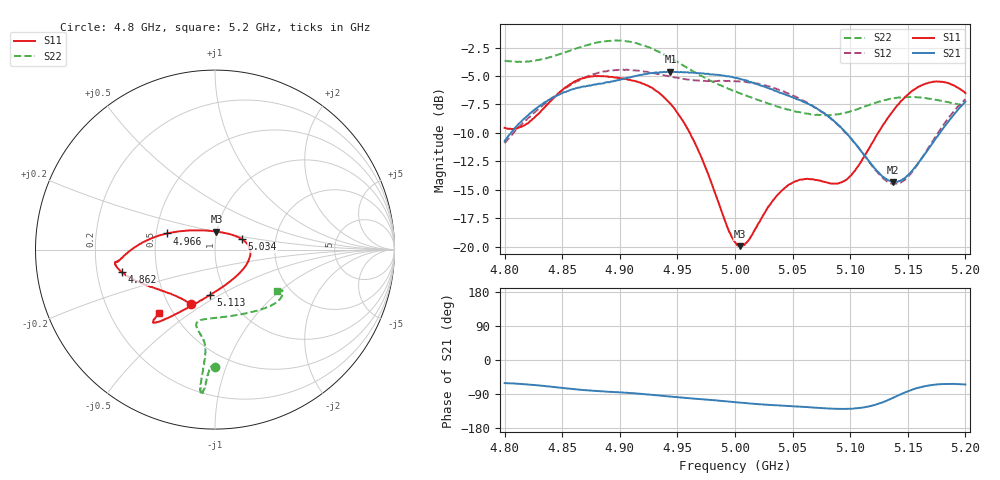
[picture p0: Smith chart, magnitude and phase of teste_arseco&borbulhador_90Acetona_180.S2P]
! Network Analyzer HP8722D
! Hewlett-Packard
! Data name: Linha & Wilkinson
! Saver's name: Rodrigo Anjos
! Comments: Teste da utilização de aquisição
! continua pelo VNA HP8722D
! Time and date: 17/4/2025 12:33
!  Frequency  S11  S21  S12  S22
# HZ  S  MA R 50
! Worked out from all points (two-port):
!   401 points, 4.8 GHz to 5.2 GHz, reference 50 ohm
!   highest |S21| = -4.61 dB at 4.944 GHz (marker M1); lowest = -14.3 dB at 5.137 GHz (marker M2)
!   |S21| within 3 dB of the highest: 4.831 GHz to 5.067 GHz (236.5 MHz wide, 4.78 % of centre); 5.196699 GHz to end of sweep
!   lowest |S11| = -19.9 dB at 5.004 GHz (marker M3), VSWR 1.22, Z = 49.8 + j10.1 ohm
!   |S11| at or under -10 dB: 4.961 GHz to 5.124 GHz (163.4 MHz wide, 3.24 % of centre)
!   |S22| runs from -8.5 to -1.9 dB; largest |S21 - S12| = 0.88
!   S11 on the Smith chart (normalised r, x): 4.8 GHz: 0.64, -0.44; 4.862 GHz: 0.31, -0.11; 4.966 GHz: 0.57, +0.11; 5.034 GHz: 1.35, +0.16; 5.113 GHz: 0.84, -0.45; 5.2 GHz: 0.42, -0.39
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4.8e9  0.3329 -114.0  0.2912 -61.0  0.285 -175.3  0.6566 -90.0
4.819e9  0.3468 -134.0  0.3734 -64.2  0.3606 -173.9  0.6514 -91.5
4.862e9  0.5356 -166.5  0.4978 -77.3  0.53 -177.1  0.7426 -93.9
4.867e9  0.548 -168.4  0.5047 -78.9  0.5453 -178.1  0.757 -94.1
4.899e9  0.5512 -173.0  0.5393 -85.3  0.5986 175.3  0.804 -95.5
4.934e9  0.4748 -179.2  0.5824 -93.6  0.5742 171.7  0.7178 -96.0
4.944e9  0.4246 176.2  0.5883 -96.4  0.5587 171.7  0.6753 -95.6
4.966e9  0.28 161.2  0.58 -102.1  0.5383 173.7  0.5818 -95.4
5e9  0.1048 99.1  0.5521 -111.4  0.5345 176.0  0.4799 -99.5
5.004e9  0.1006 85.3  0.5473 -112.4  0.5323 175.9  0.4727 -100.3
5.012e9  0.107 59.8  0.5302 -114.4  0.528 175.7  0.4565 -102.1
5.034e9  0.1622 20.5  0.4852 -119.5  0.497 174.6  0.4172 -103.9
5.05e9  0.1914 4.3  0.4537 -122.0  0.4621 173.8  0.3951 -99.8
5.067e9  0.1981 -13.8  0.4174 -125.3  0.4172 173.5  0.3813 -91.0
5.093e9  0.1924 -58.2  0.3298 -129.0  0.3281 173.9  0.3851 -70.8
5.113e9  0.2535 -95.9  0.2498 -124.5  0.2494 -180.0  0.4141 -55.1
5.134e9  0.3758 -117.1  0.1952 -104.2  0.1911 -157.1  0.446 -43.1
5.137e9  0.3939 -119.0  0.1923 -100.1  0.1893 -152.3  0.4488 -41.8
5.149e9  0.4612 -124.4  0.204 -83.8  0.2006 -133.5  0.4548 -37.2
5.168e9  0.5253 -129.3  0.2695 -67.5  0.2729 -113.7  0.4469 -32.5
5.184e9  0.525 -130.9  0.3488 -63.1  0.3605 -107.4  0.4326 -31.2
5.2e9  0.473 -131.2  0.4341 -64.6  0.4449 -106.7  0.4162 -33.7
